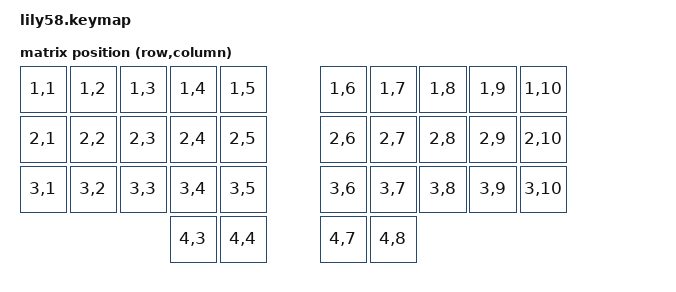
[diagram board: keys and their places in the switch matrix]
#include "base_keymap.dtsi"
#include <dt-bindings/zmk/matrix_transform.h>

&default_transform {
  compatible = "zmk,matrix-transform";
  columns = <10>;
  rows = <4>;
  map = <
    RC(1,1) RC(1,2) RC(1,3) RC(1,4) RC(1,5)                 RC(1,6) RC(1,7) RC(1,8) RC(1,9) RC(1,10)
    RC(2,1) RC(2,2) RC(2,3) RC(2,4) RC(2,5)                 RC(2,6) RC(2,7) RC(2,8) RC(2,9) RC(2,10)
    RC(3,1) RC(3,2) RC(3,3) RC(3,4) RC(3,5)                 RC(3,6) RC(3,7) RC(3,8) RC(3,9) RC(3,10)
                                  RC(4,3) RC(4,4)   RC(4,7) RC(4,8)
  >;
};
